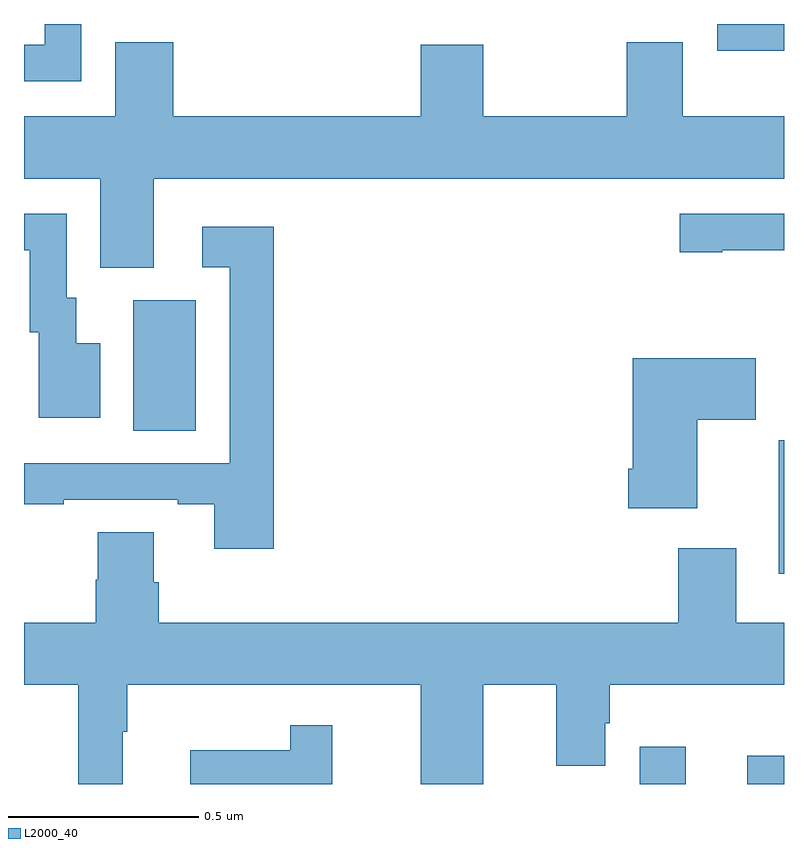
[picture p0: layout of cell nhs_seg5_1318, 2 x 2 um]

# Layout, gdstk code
import gdstk
lib = gdstk.Library(unit=1e-6, precision=1e-09)
def R(c, l, rs):  # rectangles x0, y0, x1, y1
    for r in rs: c.add(gdstk.rectangle(r[:2], r[2:], *l))
def P(c, l, *ps):  # polygons
    for p in ps: c.add(gdstk.Polygon(p, *l))
L2000_40 = (2000, 40)

nhs_seg5_1318 = lib.new_cell('nhs_seg5_1318')
R(nhs_seg5_1318, L2000_40, [(129.62,889.799,129.742,889.897), (129.903,889.799,130,889.874), (129.986,890.352,130,890.704), (128.288,890.728,128.452,891.072), (129.824,891.728,130,891.799)])
P(nhs_seg5_1318, L2000_40, [(128.151,891.799),(128.055,891.799),(128.055,891.744),(128,891.744),(128,891.648),(128.151,891.648)],
  [(128.341,891.392),(130,891.392),(130,891.556),(129.733,891.556),(129.733,891.751),(129.586,891.751),(129.586,891.556),(129.208,891.556),(129.208,891.745),(129.044,891.745),(129.044,891.556),(128.393,891.556),(128.393,891.751),(128.24,891.751),(128.24,891.556),(128,891.556),(128,891.392),(128.201,891.392),(128.201,891.157),(128.341,891.157)],
  [(129.838,891.204),(130,891.204),(130,891.3),(129.726,891.3),(129.726,891.199),(129.838,891.199)],
  [(128.2,890.959),(128.137,890.959),(128.137,891.078),(128.112,891.078),(128.112,891.3),(128,891.3),(128,891.204),(128.015,891.204),(128.015,890.988),(128.039,890.988),(128.039,890.763),(128.2,890.763)],
  [(128.657,891.265),(128.469,891.265),(128.469,891.159),(128.541,891.159),(128.541,890.643),(128,890.643),(128,890.535),(128.105,890.535),(128.105,890.547),(128.405,890.547),(128.405,890.535),(128.501,890.535),(128.501,890.418),(128.657,890.418)],
  [(129.772,890.758),(129.925,890.758),(129.925,890.92),(129.602,890.92),(129.602,890.629),(129.59,890.629),(129.59,890.525),(129.772,890.525)],
  [(128.26,889.937),(128.272,889.937),(128.272,890.06),(129.044,890.06),(129.044,889.799),(129.208,889.799),(129.208,890.06),(129.401,890.06),(129.401,889.847),(129.529,889.847),(129.529,889.959),(129.542,889.959),(129.542,890.06),(130,890.06),(130,890.224),(129.874,890.224),(129.874,890.419),(129.722,890.419),(129.722,890.224),(128.354,890.224),(128.354,890.33),(128.341,890.33),(128.341,890.462),(128.194,890.462),(128.194,890.337),(128.189,890.337),(128.189,890.224),(128,890.224),(128,890.06),(128.143,890.06),(128.143,889.799),(128.26,889.799)],
  [(128.811,889.954),(128.7,889.954),(128.7,889.888),(128.438,889.888),(128.438,889.799),(128.811,889.799)])

lib.write_gds('nhs_seg5_1318.gds')
